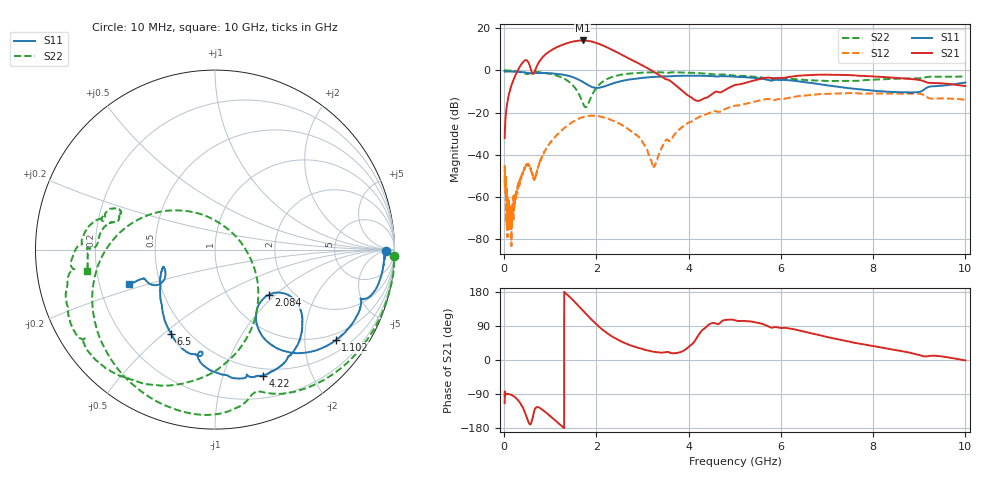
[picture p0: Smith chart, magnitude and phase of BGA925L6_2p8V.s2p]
! (c) 2011 Infineon Technologies AG
! BGA925L6 - SiGe GNSS Low Noise Amplifier (LNA)
! 14 Sep. 2011
! Standard Application Board
! C1 = L1 = 0 ohm
! C2 = 1 uF
! RF input and output lines de-embedded
! Port 1 reference plane: LNA input AI (pin 5)
! Port 2 reference plane: LNA output AO (pin 3)
! Network Data:
! Measurement183
# GHz S MA R 50
!  f  Mag(S11)  Pha(S11)  Mag(S21)  Pha(S21)  Mag(S12)  Pha(S12)  Mag(S22)  Pha(S22)
! GHz  --  deg  --  deg  --  deg  --  deg
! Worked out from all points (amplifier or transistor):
!   2229 points, 10 MHz to 10 GHz, reference 50 ohm
!   highest |S21| = 14.3 dB at 1.702 GHz (marker M1)
!   |S21| within 3 dB of that: 1.164 GHz to 2.203 GHz (1.039 GHz wide, 61.7 % of centre)
!   unconditionally stable (mu >= 1): start of sweep to 13.37 MHz; 15.27 MHz to 17 MHz; 93.69 MHz to end of sweep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
!   at 752 MHz: K = 3.02, MAG = 16.8 dB, |S12| = -45.0 dB
!   at 2.172 GHz: K = 1.20, MAG = 14.3 dB, |S12| = -22.4 dB
!   at 10 GHz: K = 1.73, MAG = -1.7 dB, |S12| = -13.9 dB
!   lowest NFmin = 0.56 dB at 1.55 GHz
!   S11 on the Smith chart (normalised r, x): 10 MHz: 38, -7; 1.102 GHz: 0.81, -2.79; 2.084 GHz: 1.53, -0.91; 4.22 GHz: 0.42, -1.36; 6.5 GHz: 0.41, -0.53; 10 GHz: 0.33, -0.17
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0.01  0.9504 -0.6  0.02451 -114.1  0.00558 -70.2  0.9992 -2.1
0.152  0.9427 -5.5  0.422 -92.0  0.000342 -124.4  0.991 -25.9
0.39  0.9181 -14.6  1.488 -122.6  0.003449 173.9  0.8925 -63.6
0.496  0.8784 -18.2  1.732 -153.9  0.005628 145.8  0.8224 -73.7
0.578  0.8559 -18.7  1.049 -168.6  0.004567 119.7  0.879 -80.2
0.702  0.8702 -21.3  1.223 -124.7  0.003636 -180.0  0.9222 -99.1
0.89  0.8696 -28.1  2.388 -137.1  0.01268 -176.7  0.8715 -124.5
1.102  0.8406 -36.8  3.4 -158.8  0.02602 168.0  0.7746 -150.4
1.424  0.7315 -52.0  4.667 166.0  0.05382 138.8  0.5203 167.2
1.676  0.5587 -61.2  5.177 134.7  0.07569 111.3  0.203 108.6
1.702  0.5374 -61.4  5.182 131.4  0.0774 108.3  0.1734 95.9
1.882  0.4148 -56.1  4.925 108.2  0.08404 87.3  0.2294 -22.2
2.084  0.3919 -39.9  4.184 84.9  0.08032 66.3  0.4857 -65.4
2.466  0.5333 -32.6  2.641 53.3  0.05663 38.8  0.7644 -103.1
2.828  0.6341 -39.9  1.641 35.1  0.03133 27.3  0.8612 -122.8
3.34  0.7121 -51.5  0.8055 20.2  0.009153 135.8  0.9057 -141.0
4.22  0.7509 -69.3  0.1896 66.8  0.07749 147.0  0.8669 -163.6
5.01  0.7089 -83.9  0.4516 104.4  0.1455 126.0  0.75 177.9
6.5  0.5305 -117.4  0.7669 74.9  0.2538 90.0  0.5973 157.5
6.67  0.5023 -122.1  0.7835 70.3  0.2642 85.6  0.5818 157.3
8.34  0.3112 -160.2  0.6853 29.4  0.2826 46.5  0.6265 168.0
10  0.5184 -158.0  0.4268 -1.3  0.2013 15.9  0.7209 -170.6
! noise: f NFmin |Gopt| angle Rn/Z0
1.55  0.5633  0.4672  40.4  0.1564
1.557  0.5638  0.4668  40.57  0.1563
1.564  0.5643  0.4664  40.74  0.1561
1.571  0.5649  0.466  40.91  0.156
1.578  0.5654  0.4656  41.08  0.1558
1.586  0.5661  0.4652  41.27  0.1557
1.593  0.5667  0.4648  41.43  0.1556
1.6  0.5674  0.4644  41.6  0.1555
1.607  0.568  0.464  41.77  0.1554
1.615  0.5687  0.4636  41.95  0.1552
